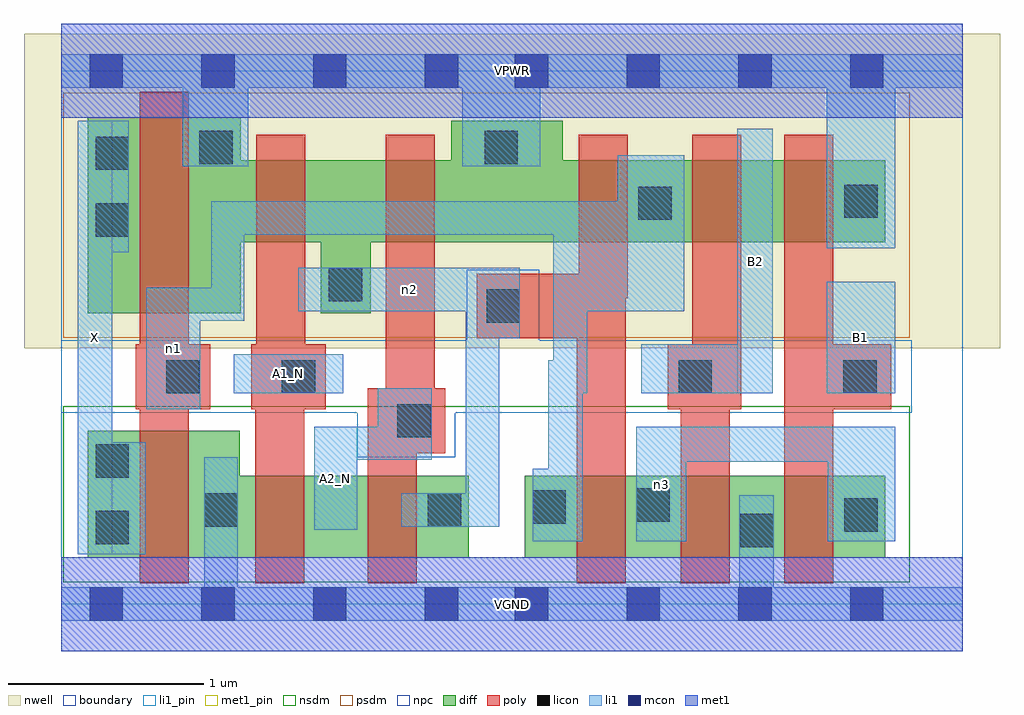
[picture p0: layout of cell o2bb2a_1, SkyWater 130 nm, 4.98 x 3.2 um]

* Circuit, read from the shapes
.subckt o2bb2a_1 A1_N A2_N B1 B2 VGND VPWR X n1 n2 n3
XM1 VGND n1 X VSUBS sky130_fd_pr__nfet_01v8 w=0.65 l=0.25
XM2 n4 A1_N VGND VSUBS sky130_fd_pr__nfet_01v8 w=0.42 l=0.25
XM3 n2 A2_N n4 VSUBS sky130_fd_pr__nfet_01v8 w=0.42 l=0.25
XM4 n3 n2 n1 VSUBS sky130_fd_pr__nfet_01v8 w=0.42 l=0.25
XM5 VGND B2 n3 VSUBS sky130_fd_pr__nfet_01v8 w=0.42 l=0.25
XM6 n3 B1 VGND VSUBS sky130_fd_pr__nfet_01v8 w=0.42 l=0.25
XM7 VPWR n1 X n5 sky130_fd_pr__pfet_01v8 w=1 l=0.25
XM8 n2 A1_N VPWR n5 sky130_fd_pr__pfet_01v8 w=0.42 l=0.25
XM9 VPWR A2_N n2 n5 sky130_fd_pr__pfet_01v8 w=0.42 l=0.25
XM10 n1 n2 VPWR n5 sky130_fd_pr__pfet_01v8 w=0.42 l=0.25
XM11 n6 B2 n1 n5 sky130_fd_pr__pfet_01v8 w=0.42 l=0.25
XM12 VPWR B1 n6 n5 sky130_fd_pr__pfet_01v8 w=0.42 l=0.25
.ends

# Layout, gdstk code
import gdstk
lib = gdstk.Library(unit=1e-6, precision=1e-09)
def R(c, l, rs):  # rectangles x0, y0, x1, y1
    for r in rs: c.add(gdstk.rectangle(r[:2], r[2:], *l))
def A(c, l, x, y, w, h, nx, ny, dx, dy):  # array of equal rectangles
    R(c, l, [(x+i*dx, y+j*dy, x+i*dx+w, y+j*dy+h) for i in range(nx) for j in range(ny)])
nwell = (64, 20)
diff = (65, 20)
poly = (66, 20)
licon = (66, 44)
li1_pin = (67, 16)
li1 = (67, 20)
mcon = (67, 44)
met1_pin = (68, 16)
met1 = (68, 20)
nsdm = (93, 44)
psdm = (94, 20)
npc = (95, 20)
boundary = (235, 4)

o2bb2a_1 = lib.new_cell('o2bb2a_1')
R(o2bb2a_1, nwell, [(-0.19,1.305,4.79,2.91), (0,1.305,4.6,2.91)])
R(o2bb2a_1, diff, [(0.135,0.235,2.08,0.655), (0.135,0.235,0.91,0.885), (2.365,0.235,4.205,0.655), (0.135,1.485,0.915,2.485), (1.325,1.485,1.58,2.265), (0.135,1.845,4.205,2.265), (1.99,1.845,2.56,2.465)])
R(o2bb2a_1, poly, [(0.4,0.105,0.65,2.615), (0.99,0.105,1.24,1.325), (1.565,0.105,1.815,1.1), (2.63,0.105,2.88,1.685), (2.64,0.105,2.88,2.395), (3.16,0.105,3.41,1.325), (3.69,0.105,3.94,2.395), (1.565,0.77,1.96,1.1), (0.38,0.995,0.76,1.325), (0.97,0.995,1.35,1.325), (0.995,0.995,1.245,2.395), (3.095,0.995,3.47,1.325), (3.22,0.995,3.47,2.395), (3.69,0.995,4.235,1.325), (1.655,1.1,1.905,2.395), (2.12,1.355,2.88,1.685), (2.64,1.56,2.89,2.395)])
R(o2bb2a_1, licon, [(3.465,0.29,3.635,0.46), (0.175,0.305,0.345,0.475), (3.995,0.37,4.165,0.54), (0.73,0.395,0.9,0.565), (1.87,0.395,2.04,0.565), (2.405,0.41,2.575,0.58), (2.935,0.42,3.105,0.59), (0.175,0.645,0.345,0.815), (1.715,0.85,1.885,1.02), (0.535,1.075,0.705,1.245), (1.125,1.075,1.295,1.245), (3.15,1.075,3.32,1.245), (3.99,1.075,4.16,1.245), (2.17,1.435,2.34,1.605), (1.365,1.545,1.535,1.715), (0.175,1.875,0.345,2.045), (2.945,1.96,3.115,2.13), (3.995,1.97,4.165,2.14), (0.175,2.215,0.345,2.385), (0.705,2.245,0.875,2.415), (2.16,2.245,2.33,2.415)])
R(o2bb2a_1, li1_pin, [(0.085,0.255,0.26,2.465), (1.29,0.38,1.51,0.905), (0.88,1.075,1.44,1.275), (3.45,1.075,3.63,2.425), (3.905,1.075,4.255,1.645)])
R(o2bb2a_1, li1, [(0,-0.085,4.6,0.085), (0.73,-0.085,0.9,0.75), (3.46,-0.085,3.635,0.555), (0.085,0.255,0.26,2.465), (0.085,0.255,0.43,0.825), (2.405,0.32,2.66,0.69), (2.485,0.32,2.66,1.245), (2.935,0.32,3.19,0.905), (3.91,0.32,4.255,0.905), (1.29,0.38,1.51,0.905), (1.735,0.395,2.235,0.565), (2.065,0.395,2.235,1.715), (2.935,0.725,4.255,0.905), (1.29,0.735,1.89,0.905), (1.615,0.735,1.89,1.1), (0.435,0.995,0.71,1.615), (0.88,1.075,1.44,1.275), (2.51,1.075,2.685,2.055), (2.96,1.075,3.63,1.325), (3.45,1.075,3.63,2.425), (3.905,1.075,4.255,1.645), (2.065,1.355,2.34,1.715), (0.435,1.445,0.935,1.615), (0.765,1.445,0.935,2.055), (1.21,1.495,2.34,1.715), (2.51,1.495,3.18,2.055), (2.84,1.495,3.18,2.29), (0.085,1.795,0.345,2.465), (3.905,1.815,4.255,2.805), (0.765,1.885,3.18,2.055), (0.62,2.235,0.955,2.805), (2.045,2.235,2.445,2.805), (0,2.635,4.6,2.805)])
A(o2bb2a_1, mcon, 0.145, -0.085, 0.17, 0.17, 4, 2, 0.57, 2.72)
A(o2bb2a_1, mcon, 2.315, -0.085, 0.17, 0.17, 4, 2, 0.57, 2.72)
R(o2bb2a_1, met1_pin, [(0,-0.24,4.6,0.24), (0,2.48,4.6,2.96)])
R(o2bb2a_1, met1, [(0,-0.24,4.6,0.24), (0,2.48,4.6,2.96)])
R(o2bb2a_1, nsdm, [(0.01,0.11,4.33,1.01)])
R(o2bb2a_1, psdm, [(0.01,1.36,4.33,2.61)])
R(o2bb2a_1, npc, [(1.51,0.75,2.01,1.345), (0,0.975,4.34,1.345), (2.07,0.975,2.44,1.705)])
R(o2bb2a_1, boundary, [(0,0,4.6,2.72)])
o2bb2a_1.add(gdstk.Label('A1_N', (1.16,1.175), layer=67, texttype=5))
o2bb2a_1.add(gdstk.Label('A2_N', (1.4,0.642), layer=67, texttype=5))
o2bb2a_1.add(gdstk.Label('B1', (4.08,1.36), layer=67, texttype=5))
o2bb2a_1.add(gdstk.Label('B2', (3.54,1.75), layer=67, texttype=5))
o2bb2a_1.add(gdstk.Label('X', (0.172,1.36), layer=67, texttype=5))
o2bb2a_1.add(gdstk.Label('n3', (3.062,0.612), layer=67, texttype=5))
o2bb2a_1.add(gdstk.Label('n2', (1.775,1.605), layer=67, texttype=5))
o2bb2a_1.add(gdstk.Label('n1', (0.572,1.305), layer=67, texttype=5))
o2bb2a_1.add(gdstk.Label('VPWR', (2.3,2.72), layer=68, texttype=5))
o2bb2a_1.add(gdstk.Label('VGND', (2.3,0), layer=68, texttype=5))
o2bb2a_1.add(gdstk.Label('A1_N', (1.16,1.175), layer=67, texttype=16))
o2bb2a_1.add(gdstk.Label('A2_N', (1.4,0.642), layer=67, texttype=16))
o2bb2a_1.add(gdstk.Label('B1', (4.08,1.36), layer=67, texttype=16))
o2bb2a_1.add(gdstk.Label('B2', (3.54,1.75), layer=67, texttype=16))
o2bb2a_1.add(gdstk.Label('X', (0.172,1.36), layer=67, texttype=16))
o2bb2a_1.add(gdstk.Label('VPWR', (2.3,2.72), layer=68, texttype=16))
o2bb2a_1.add(gdstk.Label('VGND', (2.3,0), layer=68, texttype=16))

lib.write_gds('o2bb2a_1.gds')
